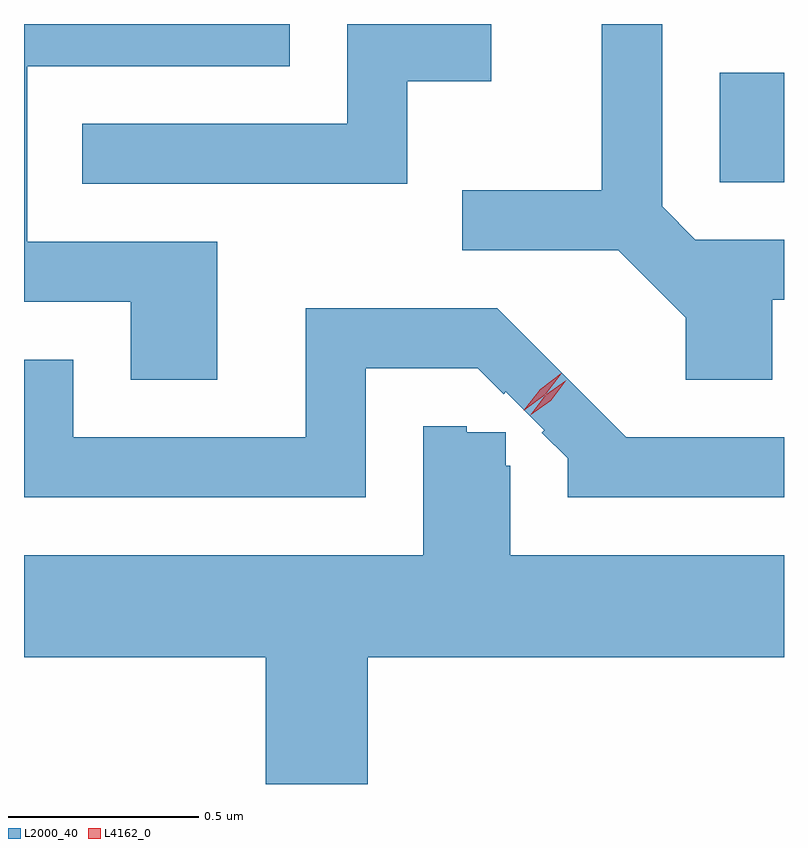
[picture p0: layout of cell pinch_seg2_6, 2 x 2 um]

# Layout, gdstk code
import gdstk
lib = gdstk.Library(unit=1e-6, precision=1e-09)
def R(c, l, rs):  # rectangles x0, y0, x1, y1
    for r in rs: c.add(gdstk.rectangle(r[:2], r[2:], *l))
def P(c, l, *ps):  # polygons
    for p in ps: c.add(gdstk.Polygon(p, *l))
L2000_40 = (2000, 40)
L4162_0 = (4162, 0)

pinch_seg2_6 = lib.new_cell('pinch_seg2_6')
R(pinch_seg2_6, L2000_40, [(1894.591,1014.046,1894.76,1014.334)])
P(pinch_seg2_6, L2000_40, [(1893.769,1014.311),(1893.989,1014.311),(1893.989,1014.462),(1893.611,1014.462),(1893.611,1014.199),(1892.913,1014.199),(1892.913,1014.041),(1893.769,1014.041)],
  [(1893.269,1013.889),(1892.769,1013.889),(1892.769,1014.351),(1893.459,1014.351),(1893.459,1014.462),(1892.76,1014.462),(1892.76,1013.731),(1893.041,1013.731),(1893.041,1013.526),(1893.269,1013.526)],
  [(1894.729,1013.736),(1894.76,1013.736),(1894.76,1013.894),(1894.527,1013.894),(1894.439,1013.982),(1894.439,1014.462),(1894.281,1014.462),(1894.281,1014.024),(1893.913,1014.024),(1893.913,1013.866),(1894.324,1013.866),(1894.501,1013.689),(1894.501,1013.526),(1894.729,1013.526)],
  [(1893.659,1013.556),(1893.954,1013.556),(1894.022,1013.488),(1894.028,1013.494),(1894.129,1013.393),(1894.123,1013.387),(1894.191,1013.319),(1894.191,1013.216),(1894.76,1013.216),(1894.76,1013.374),(1894.345,1013.374),(1894.005,1013.714),(1893.501,1013.714),(1893.501,1013.374),(1892.889,1013.374),(1892.889,1013.579),(1892.76,1013.579),(1892.76,1013.216),(1893.659,1013.216)],
  [(1893.664,1012.796),(1894.76,1012.796),(1894.76,1013.064),(1894.039,1013.064),(1894.039,1013.3),(1894.028,1013.3),(1894.028,1013.388),(1893.925,1013.388),(1893.925,1013.404),(1893.811,1013.404),(1893.811,1013.064),(1892.76,1013.064),(1892.76,1012.796),(1893.396,1012.796),(1893.396,1012.462),(1893.664,1012.462)])
P(pinch_seg2_6, L4162_0, [(1894.075,1013.445),(1894.075,1013.446),(1894.118,1013.501),(1894.174,1013.543),(1894.174,1013.543),(1894.174,1013.542),(1894.132,1013.487),(1894.076,1013.445)],
  [(1894.092,1013.432),(1894.092,1013.433),(1894.133,1013.486),(1894.187,1013.525),(1894.187,1013.525),(1894.187,1013.524),(1894.146,1013.471),(1894.092,1013.432)])

lib.write_gds('pinch_seg2_6.gds')
